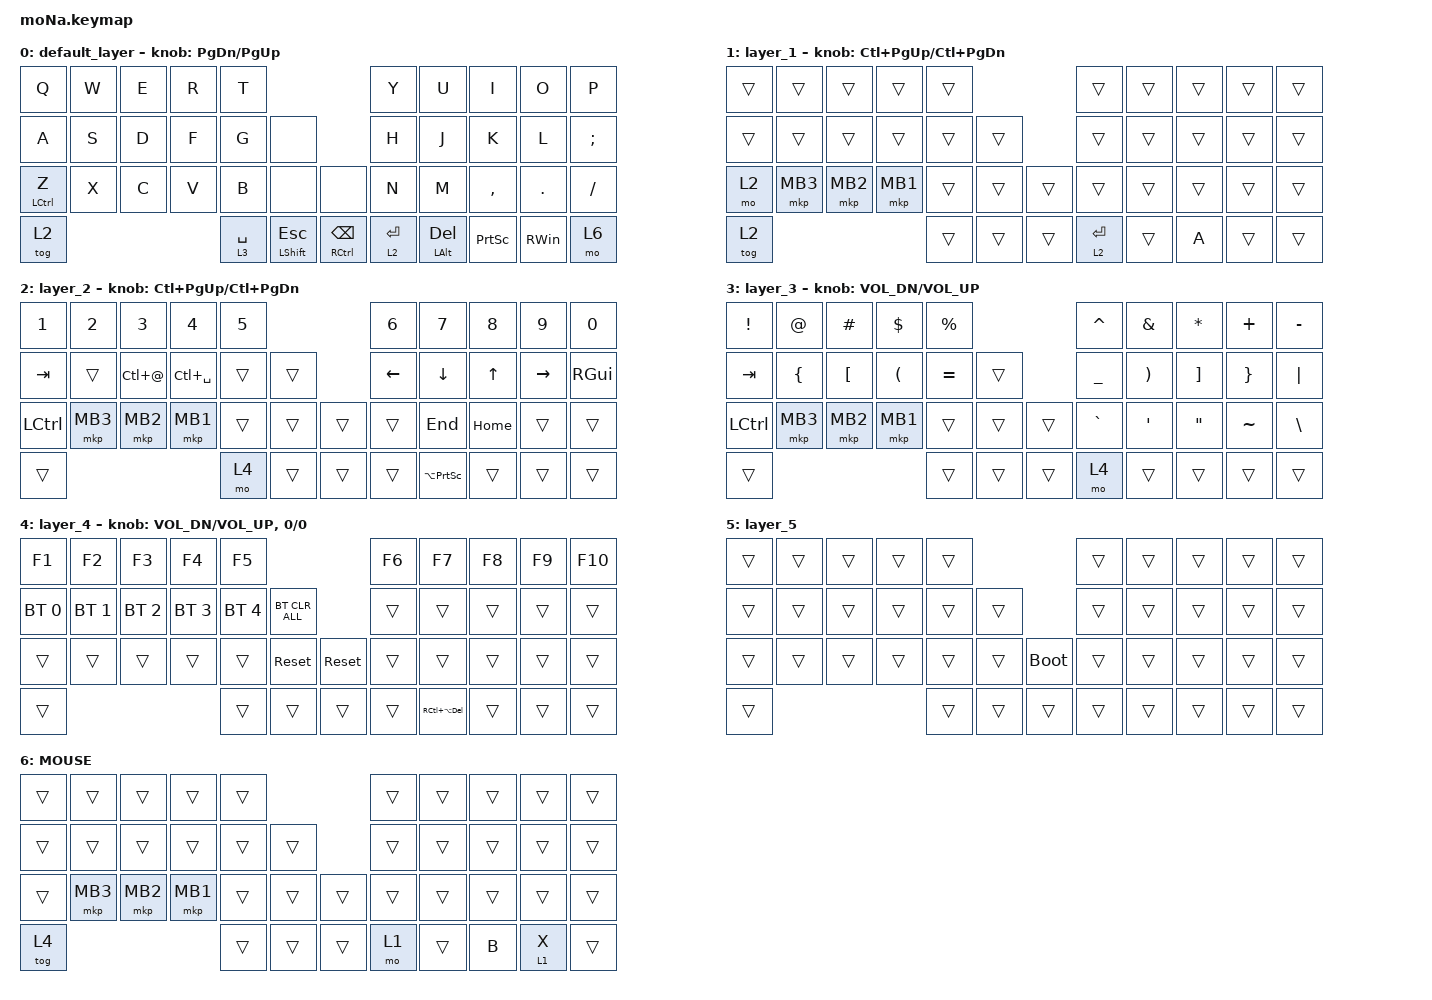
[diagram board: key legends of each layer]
#include <behaviors/rgbled_widget.dtsi>  // 新しく追加するインクルード
#include <dt-bindings/zmk/mouse.h>
#include <behaviors.dtsi>
#include <dt-bindings/zmk/bt.h>
#include <dt-bindings/zmk/keys.h>
#include <dt-bindings/zmk/pointing.h>

#define MOUSE 6
#define ZMK_MOUSE_DEFAULT_SCRL_VAL 100

&mt {
    flavor = "balanced";
    tapping-term-ms = <200>;
    quick-tap-ms = <200>;
};

/ {
    combos {
        compatible = "zmk,combos";

        tab {
            bindings = <&kp TAB>;
            key-positions = <11 12>;
        };

        shift_tab {
            bindings = <&kp LS(TAB)>;
            key-positions = <12 13>;
        };

        muhennkann {
            bindings = <&to_layer_0 INT_MUHENKAN>;
            key-positions = <11 10>;
        };

        double_quotation {
            bindings = <&kp DOUBLE_QUOTES>;
            key-positions = <20 21>;
        };

        eq {
            bindings = <&kp EQUAL>;
            key-positions = <24 25>;
        };

        page_up {
            bindings = <&kp PAGE_DOWN>;
            key-positions = <17 18>;
        };

        page_down {
            bindings = <&kp PAGE_UP>;
            key-positions = <18 19>;
        };

        mb4 {
            bindings = <&mkp MB4>;
            key-positions = <23 24>;
        };
    };

    macros {
        to_layer_0: to_layer_0 {
            compatible = "zmk,behavior-macro-one-param";
            #binding-cells = <1>;
            bindings = <&to 0 &macro_param_1to1 &kp MACRO_PLACEHOLDER>;
            label = "TO_LAYER_0";
        };
    };

    behaviors {
        lt_to_layer_0: lt_to_layer_0 {
            compatible = "zmk,behavior-hold-tap";
            label = "LAYER_TAP_TO_0";
            bindings = <&mo>, <&to_layer_0>;

            #binding-cells = <2>;
            tapping-term-ms = <200>;
        };

        scroll_up_down: behavior_sensor_rotate_mouse_wheel_up_down {
            compatible = "zmk,behavior-sensor-rotate";
            #sensor-binding-cells = <0>;
            bindings = <&msc SCRL_DOWN>, <&msc SCRL_UP>;

            // 追加: スクロールのタップ時間を設定 (20ms)

            tap-ms = <20>;
        };
    };

    keymap {
        compatible = "zmk,keymap";

        default_layer {
            bindings = <
&kp Q        &kp W  &kp E  &kp R  &kp T                                                   &kp Y        &kp U                &kp I            &kp O          &kp P
&kp A        &kp S  &kp D  &kp F  &kp G        &none                                      &kp H        &kp J                &kp K            &kp L          &kp SEMICOLON
&mt LCTRL Z  &kp X  &kp C  &kp V  &kp B        &none                 &none                &kp N        &kp M                &kp COMMA        &kp PERIOD     &kp SLASH
&tog 2                            &lt 3 SPACE  &mt LEFT_SHIFT ESC    &mt RCTRL BACKSPACE  &lt 2 ENTER  &mt LEFT_ALT DELETE  &kp PRINTSCREEN  &kp RIGHT_WIN  &mo 6
            >;

            sensor-bindings = <&inc_dec_kp PAGE_DOWN PAGE_UP>;
        };

        layer_1 {
            bindings = <
&trans  &trans    &trans    &trans    &trans                    &trans       &trans  &trans  &trans  &trans
&trans  &trans    &trans    &trans    &trans  &trans            &trans       &trans  &trans  &trans  &trans
&mo 2   &mkp MB3  &mkp MB2  &mkp MB1  &trans  &trans    &trans  &trans       &trans  &trans  &trans  &trans
&tog 2                                &trans  &trans    &trans  &lt 2 ENTER  &trans  &kp A   &trans  &trans
            >;

            sensor-bindings = <&inc_dec_kp LC(PAGE_UP) LC(PAGE_DOWN)>;
        };

        layer_2 {
            bindings = <
&kp NUMBER_1  &kp NUMBER_2  &kp NUMBER_3  &kp NUMBER_4   &kp N5                    &kp NUMBER_6    &kp N7               &kp N8        &kp N9           &kp N0
&kp TAB       &trans        &kp LC(AT)    &kp LC(SPACE)  &trans  &trans            &kp LEFT_ARROW  &kp DOWN             &kp UP_ARROW  &kp RIGHT_ARROW  &kp RIGHT_GUI
&kp LCTRL     &mkp MB3      &mkp MB2      &mkp MB1       &trans  &trans    &trans  &trans          &kp END              &kp HOME      &trans           &trans
&trans                                                   &mo 4   &trans    &trans  &trans          &kp LA(PRINTSCREEN)  &trans        &trans           &trans
            >;

            sensor-bindings = <&inc_dec_kp LC(PAGE_UP) LC(PAGE_DOWN)>;
        };

        layer_3 {
            bindings = <
&kp EXCLAMATION  &kp AT_SIGN     &kp HASH          &kp DOLLAR  &kp PERCENT                    &kp CARET  &kp AMPERSAND          &kp ASTERISK       &kp PLUS         &kp MINUS
&kp TAB          &kp LEFT_BRACE  &kp LEFT_BRACKET  &kp LPAR    &kp EQUAL    &trans            &kp UNDER  &kp RIGHT_PARENTHESIS  &kp RIGHT_BRACKET  &kp RIGHT_BRACE  &kp PIPE
&kp LCTRL        &mkp MB3        &mkp MB2          &mkp MB1    &trans       &trans    &trans  &kp GRAVE  &kp SINGLE_QUOTE       &kp DOUBLE_QUOTES  &kp TILDE        &kp BACKSLASH
&trans                                                         &trans       &trans    &trans  &mo 4      &trans                 &trans             &trans           &trans
            >;

            sensor-bindings = <&inc_dec_kp C_VOL_DN C_VOL_UP>;
        };

        layer_4 {
            bindings = <
&kp F1        &kp F2        &kp F3        &kp F4        &kp F5                                      &kp F6  &kp F7           &kp F8  &kp F9  &kp F10
&bt BT_SEL 0  &bt BT_SEL 1  &bt BT_SEL 2  &bt BT_SEL 3  &bt BT_SEL 4  &bt BT_CLR_ALL                &trans  &trans           &trans  &trans  &trans
&trans        &trans        &trans        &trans        &trans        &sys_reset        &sys_reset  &trans  &trans           &trans  &trans  &trans
&trans                                                  &trans        &trans            &trans      &trans  &kp RC(LA(DEL))  &trans  &trans  &trans
            >;

            sensor-bindings =
                <&inc_dec_kp C_VOL_DN C_VOL_UP>,
                <&inc_dec_kp 0 0>;
        };

        layer_5 {
            bindings = <
&trans  &trans  &trans  &trans  &trans                         &trans  &trans  &trans  &trans  &trans
&trans  &trans  &trans  &trans  &trans  &trans                 &trans  &trans  &trans  &trans  &trans
&trans  &trans  &trans  &trans  &trans  &trans    &bootloader  &trans  &trans  &trans  &trans  &trans
&trans                          &trans  &trans    &trans       &trans  &trans  &trans  &trans  &trans
            >;
        };

        MOUSE {
            bindings = <
&trans  &trans    &trans    &trans    &trans                    &trans  &trans  &trans  &trans   &trans
&trans  &trans    &trans    &trans    &trans  &trans            &trans  &trans  &trans  &trans   &trans
&trans  &mkp MB3  &mkp MB2  &mkp MB1  &trans  &trans    &trans  &trans  &trans  &trans  &trans   &trans
&tog 4                                &trans  &trans    &trans  &mo 1   &trans  &kp B   &lt 1 X  &trans
            >;
        };
    };
};
